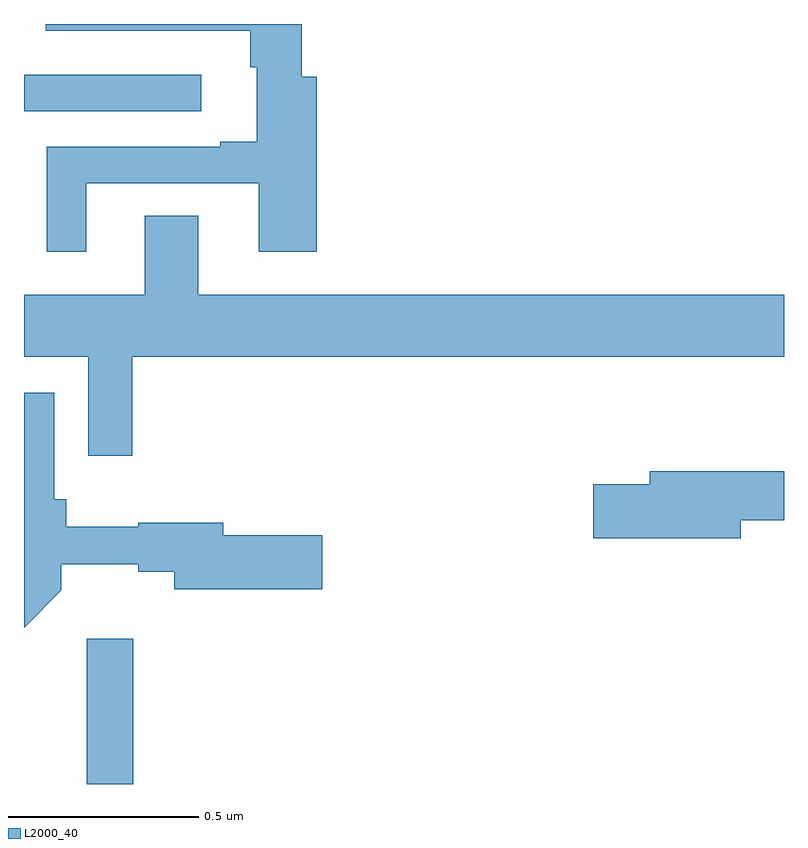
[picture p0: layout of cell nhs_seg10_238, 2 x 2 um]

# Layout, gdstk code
import gdstk
lib = gdstk.Library(unit=1e-6, precision=1e-09)
def R(c, l, rs):  # rectangles x0, y0, x1, y1
    for r in rs: c.add(gdstk.rectangle(r[:2], r[2:], *l))
def P(c, l, *ps):  # polygons
    for p in ps: c.add(gdstk.Polygon(p, *l))
L2000_40 = (2000, 40)

nhs_seg10_238 = lib.new_cell('nhs_seg10_238')
R(nhs_seg10_238, L2000_40, [(113.165,1324.5,113.288,1324.882), (113,1326.27,113.467,1326.366)])
P(nhs_seg10_238, L2000_40, [(113.164,1326.081),(113.618,1326.081),(113.618,1325.901),(113.771,1325.901),(113.771,1326.361),(113.731,1326.361),(113.731,1326.5),(113.057,1326.5),(113.057,1326.482),(113.595,1326.482),(113.595,1326.386),(113.612,1326.386),(113.612,1326.19),(113.516,1326.19),(113.516,1326.177),(113.06,1326.177),(113.06,1325.901),(113.164,1325.901)],
  [(113.285,1325.624),(115,1325.624),(115,1325.788),(113.458,1325.788),(113.458,1325.996),(113.318,1325.996),(113.318,1325.788),(113,1325.788),(113,1325.624),(113.169,1325.624),(113.169,1325.364),(113.285,1325.364)],
  [(113.098,1325.01),(113.098,1325.078),(113.3,1325.078),(113.3,1325.059),(113.396,1325.059),(113.396,1325.012),(113.785,1325.012),(113.785,1325.154),(113.524,1325.154),(113.524,1325.188),(113.3,1325.188),(113.3,1325.177),(113.111,1325.177),(113.111,1325.25),(113.08,1325.25),(113.08,1325.53),(113,1325.53),(113,1324.911)],
  [(114.886,1325.194),(115,1325.194),(115,1325.323),(114.647,1325.323),(114.647,1325.289),(114.498,1325.289),(114.498,1325.147),(114.886,1325.147)])

lib.write_gds('nhs_seg10_238.gds')
